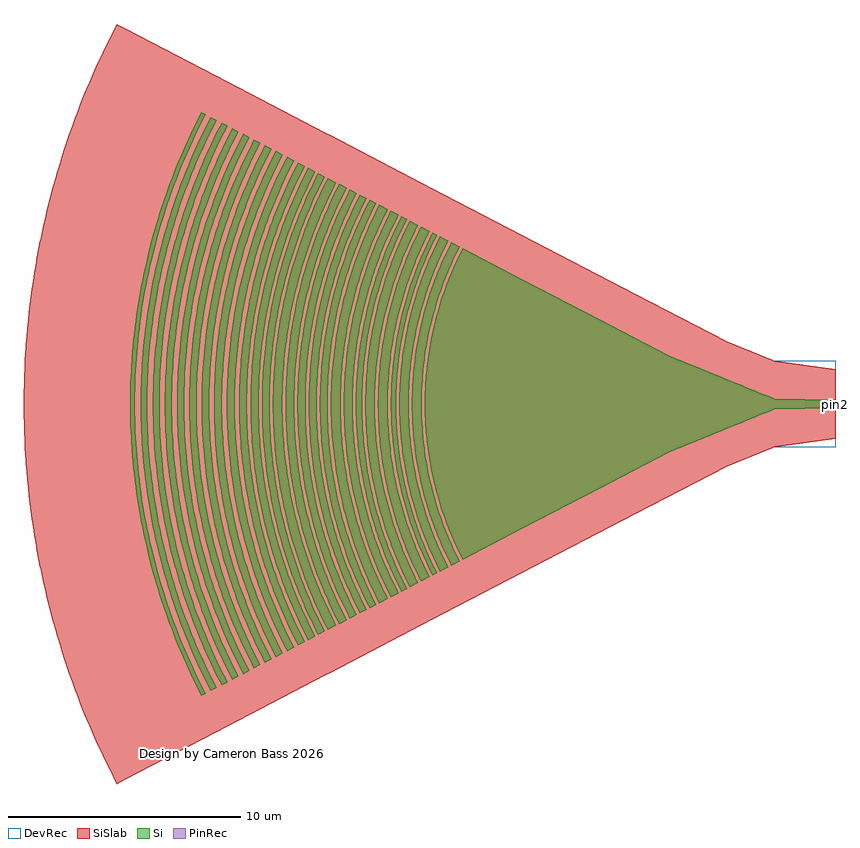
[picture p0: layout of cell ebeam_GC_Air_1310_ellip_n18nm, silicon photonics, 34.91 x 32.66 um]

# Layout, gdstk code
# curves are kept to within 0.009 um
import gdstk
lib = gdstk.Library(unit=1e-6, precision=1e-09)
def P(c, l, *ps):  # polygons
    for p in ps: c.add(gdstk.Polygon(p, *l))
Si = (1, 0)
PinRec = (1, 10)
SiSlab = (2, 0)
DevRec = (68, 0)

ebeam_gc_air_1310_ellip_ = lib.new_cell('ebeam_GC_Air_1310_ellip_n18nm')
P(ebeam_gc_air_1310_ellip_, Si, [(-16.04,-6.692),(-16.451,-5.833),(-16.767,-5.047),(-16.996,-4.378),(-17.261,-3.427),(-17.436,-2.598),(-17.563,-1.761),(-17.641,-0.917),(-17.669,-0.071),(-17.649,0.776),(-17.579,1.621),(-17.46,2.459),(-17.294,3.29),(-17.078,4.109),(-16.767,5.047),(-16.394,5.962),(-16.04,6.692),(-7.159,2.067),(-3.192,0.447),(-2.884,0.334),(-2.698,0.245),(-2.651,0.232),(0,0.175),(0,-0.175),(-2.665,-0.234),(-7.13,-2.053)],
  [(-16.532,-6.947),(-16.897,-6.191),(-17.233,-5.379),(-17.522,-4.547),(-17.762,-3.702),(-17.952,-2.842),(-18.092,-1.974),(-18.191,-0.953),(-18.221,-0.073),(-18.2,0.806),(-18.11,1.829),(-17.979,2.699),(-17.762,3.702),(-17.522,4.547),(-17.233,5.379),(-16.897,6.191),(-16.532,6.948),(-16.161,6.754),(-16.398,6.277),(-16.632,5.757),(-16.895,5.094),(-17.167,4.284),(-17.426,3.321),(-17.595,2.482),(-17.698,1.777),(-17.785,0.784),(-17.805,0.071),(-17.785,-0.784),(-17.698,-1.777),(-17.57,-2.622),(-17.393,-3.459),(-17.167,-4.284),(-16.895,-5.094),(-16.575,-5.887),(-16.161,-6.754)],
  [(-17.013,-7.198),(-17.391,-6.416),(-17.739,-5.573),(-18.038,-4.713),(-18.287,-3.835),(-18.483,-2.946),(-18.628,-2.046),(-18.721,-1.139),(-18.748,-0.683),(-18.762,-0.076),(-18.74,0.835),(-18.696,1.441),(-18.647,1.895),(-18.511,2.796),(-18.287,3.835),(-18.038,4.713),(-17.739,5.573),(-17.391,6.416),(-17.013,7.198),(-16.652,7.01),(-17.081,6.112),(-17.412,5.289),(-17.695,4.447),(-17.929,3.591),(-18.113,2.723),(-18.246,1.845),(-18.327,0.961),(-18.357,0.074),(-18.336,-0.813),(-18.263,-1.698),(-18.139,-2.577),(-17.964,-3.447),(-17.695,-4.447),(-17.412,-5.289),(-17.081,-6.112),(-16.652,-7.01)],
  [(-17.333,-7.365),(-17.72,-6.564),(-18.076,-5.703),(-18.382,-4.822),(-18.637,-3.924),(-18.838,-3.014),(-18.919,-2.554),(-19.006,-1.939),(-19.092,-1.01),(-19.123,-0.078),(-19.101,0.855),(-19.006,1.939),(-18.943,2.401),(-18.838,3.014),(-18.637,3.924),(-18.382,4.822),(-18.076,5.703),(-17.72,6.565),(-17.333,7.365),(-17.134,7.26),(-17.577,6.331),(-17.811,5.766),(-17.972,5.335),(-18.121,4.9),(-18.299,4.313),(-18.525,3.422),(-18.697,2.519),(-18.817,1.607),(-18.876,0.843),(-18.898,0.077),(-18.876,-0.843),(-18.817,-1.607),(-18.721,-2.367),(-18.557,-3.272),(-18.299,-4.313),(-18.121,-4.9),(-17.972,-5.334),(-17.811,-5.765),(-17.577,-6.331),(-17.134,-7.26)],
  [(-17.829,-7.623),(-18.294,-6.647),(-18.654,-5.752),(-18.962,-4.837),(-19.216,-3.906),(-19.415,-2.961),(-19.559,-2.007),(-19.648,-1.045),(-19.681,-0.08),(-19.657,0.885),(-19.578,1.847),(-19.443,2.803),(-19.216,3.906),(-18.962,4.837),(-18.654,5.752),(-18.229,6.794),(-17.829,7.623),(-17.454,7.427),(-17.907,6.477),(-18.203,5.751),(-18.512,4.862),(-18.768,3.958),(-18.877,3.5),(-19.001,2.885),(-19.141,1.955),(-19.205,1.331),(-19.237,0.862),(-19.259,0.078),(-19.237,-0.862),(-19.205,-1.331),(-19.141,-1.955),(-19.001,-2.885),(-18.806,-3.805),(-18.558,-4.713),(-18.258,-5.604),(-17.907,-6.477),(-17.454,-7.427)],
  [(-18.309,-7.873),(-18.584,-7.318),(-18.79,-6.864),(-19.161,-5.94),(-19.48,-4.995),(-19.742,-4.033),(-19.947,-3.058),(-20.097,-2.072),(-20.188,-1.08),(-20.222,-0.083),(-20.198,0.914),(-20.116,1.907),(-20.004,2.73),(-19.781,3.872),(-19.618,4.516),(-19.48,4.995),(-19.161,5.94),(-18.723,7.017),(-18.309,7.873),(-17.951,7.686),(-18.354,6.85),(-18.547,6.404),(-18.783,5.799),(-19.093,4.877),(-19.349,3.938),(-19.551,2.985),(-19.696,2.023),(-19.786,1.054),(-19.819,0.081),(-19.795,-0.892),(-19.715,-1.862),(-19.579,-2.826),(-19.387,-3.78),(-19.14,-4.721),(-18.839,-5.647),(-18.668,-6.103),(-18.42,-6.702),(-17.951,-7.686)],
  [(-18.671,-8.061),(-18.953,-7.491),(-19.164,-7.027),(-19.544,-6.081),(-19.87,-5.114),(-20.139,-4.129),(-20.349,-3.131),(-20.502,-2.121),(-20.596,-1.105),(-20.63,-0.085),(-20.606,0.935),(-20.522,1.953),(-20.379,2.963),(-20.251,3.631),(-20.139,4.129),(-19.87,5.114),(-19.544,6.081),(-19.164,7.028),(-18.953,7.492),(-18.671,8.061),(-18.43,7.936),(-18.707,7.377),(-18.982,6.765),(-19.347,5.83),(-19.51,5.355),(-19.704,4.714),(-19.834,4.228),(-19.986,3.576),(-20.165,2.587),(-20.27,1.756),(-20.335,0.921),(-20.359,0.084),(-20.335,-0.921),(-20.27,-1.756),(-20.165,-2.587),(-20.02,-3.412),(-19.914,-3.902),(-19.749,-4.552),(-19.561,-5.194),(-19.403,-5.672),(-19.171,-6.3),(-18.982,-6.765),(-18.707,-7.377),(-18.43,-7.935)],
  [(-19.129,-8.3),(-19.566,-7.396),(-19.84,-6.75),(-20.029,-6.261),(-20.364,-5.265),(-20.641,-4.251),(-20.857,-3.223),(-21.015,-2.184),(-21.111,-1.138),(-21.147,-0.088),(-21.137,0.613),(-21.111,1.138),(-21.015,2.184),(-20.857,3.223),(-20.64,4.251),(-20.364,5.265),(-20.029,6.261),(-19.84,6.751),(-19.566,7.396),(-19.129,8.3),(-18.793,8.124),(-19.22,7.239),(-19.489,6.608),(-19.673,6.128),(-20.001,5.153),(-20.272,4.161),(-20.485,3.155),(-20.639,2.138),(-20.733,1.114),(-20.768,0.086),(-20.743,-0.943),(-20.659,-1.968),(-20.515,-2.986),(-20.421,-3.492),(-20.272,-4.161),(-20.001,-5.153),(-19.673,-6.128),(-19.29,-7.082),(-19.077,-7.551),(-18.793,-8.124)],
  [(-19.628,-8.56),(-20.077,-7.629),(-20.491,-6.627),(-20.846,-5.604),(-21.142,-4.561),(-21.375,-3.503),(-21.548,-2.433),(-21.658,-1.354),(-21.689,-0.813),(-21.707,-0.09),(-21.681,0.993),(-21.644,1.534),(-21.57,2.253),(-21.497,2.79),(-21.375,3.503),(-21.142,4.561),(-20.846,5.604),(-20.491,6.627),(-20.077,7.629),(-19.628,8.56),(-19.251,8.363),(-19.543,7.773),(-19.762,7.29),(-20.096,6.473),(-20.276,5.976),(-20.495,5.305),(-20.774,4.283),(-20.993,3.247),(-21.151,2.201),(-21.248,1.146),(-21.284,0.088),(-21.279,-0.441),(-21.248,-1.146),(-21.151,-2.2),(-20.993,-3.247),(-20.774,-4.283),(-20.495,-5.304),(-20.333,-5.809),(-20.096,-6.473),(-19.762,-7.29),(-19.543,-7.772),(-19.251,-8.363)],
  [(-20.043,-8.776),(-20.35,-8.155),(-20.58,-7.649),(-20.994,-6.619),(-21.348,-5.566),(-21.641,-4.495),(-21.87,-3.408),(-22.036,-2.309),(-22.138,-1.203),(-22.176,-0.093),(-22.149,1.018),(-22.095,1.757),(-22.036,2.309),(-21.87,3.408),(-21.724,4.134),(-21.597,4.674),(-21.294,5.742),(-20.929,6.792),(-20.505,7.819),(-20.043,8.776),(-19.753,8.624),(-20.053,8.016),(-20.352,7.352),(-20.749,6.335),(-20.981,5.645),(-21.137,5.122),(-21.278,4.594),(-21.443,3.886),(-21.609,2.991),(-21.732,2.089),(-21.822,1.001),(-21.848,0.091),(-21.838,-0.637),(-21.769,-1.727),(-21.664,-2.631),(-21.48,-3.707),(-21.364,-4.24),(-21.186,-4.947),(-20.981,-5.644),(-20.749,-6.335),(-20.352,-7.351),(-20.053,-8.016),(-19.753,-8.624)],
  [(-20.463,-8.995),(-20.938,-8.012),(-21.373,-6.959),(-21.746,-5.885),(-22.057,-4.789),(-22.227,-4.05),(-22.337,-3.492),(-22.507,-2.366),(-22.612,-1.233),(-22.651,-0.095),(-22.64,0.664),(-22.612,1.233),(-22.507,2.366),(-22.337,3.492),(-22.187,4.236),(-22.057,4.789),(-21.746,5.885),(-21.373,6.959),(-20.938,8.012),(-20.463,8.995),(-20.165,8.839),(-20.474,8.214),(-20.78,7.533),(-20.991,7.015),(-21.249,6.315),(-21.424,5.784),(-21.634,5.069),(-21.818,4.345),(-21.936,3.799),(-22.097,2.88),(-22.214,1.955),(-22.286,1.025),(-22.313,0.093),(-22.295,-0.839),(-22.232,-1.77),(-22.124,-2.696),(-21.936,-3.799),(-21.818,-4.345),(-21.634,-5.069),(-21.479,-5.606),(-21.249,-6.315),(-20.991,-7.015),(-20.78,-7.533),(-20.474,-8.214),(-20.165,-8.839)],
  [(-20.898,-9.221),(-21.386,-8.21),(-21.831,-7.133),(-22.214,-6.031),(-22.533,-4.908),(-22.666,-4.34),(-22.82,-3.578),(-22.995,-2.425),(-23.102,-1.263),(-23.141,-0.097),(-23.136,0.486),(-23.102,1.263),(-22.995,2.425),(-22.82,3.579),(-22.666,4.341),(-22.533,4.908),(-22.272,5.845),(-21.9,6.951),(-21.465,8.033),(-21.223,8.563),(-20.898,9.221),(-20.589,9.059),(-20.908,8.415),(-21.221,7.717),(-21.437,7.187),(-21.702,6.47),(-21.882,5.925),(-22.097,5.193),(-22.285,4.451),(-22.406,3.892),(-22.571,2.951),(-22.691,2.003),(-22.765,1.051),(-22.793,0.096),(-22.774,-0.86),(-22.71,-1.813),(-22.599,-2.762),(-22.406,-3.892),(-22.285,-4.451),(-22.097,-5.193),(-21.882,-5.925),(-21.702,-6.47),(-21.437,-7.187),(-21.221,-7.717),(-20.908,-8.415),(-20.589,-9.059)],
  [(-21.349,-9.456),(-21.683,-8.782),(-21.93,-8.237),(-22.376,-7.128),(-22.758,-5.994),(-23.073,-4.84),(-23.32,-3.67),(-23.499,-2.487),(-23.609,-1.295),(-23.649,-0.1),(-23.644,0.498),(-23.609,1.296),(-23.499,2.487),(-23.32,3.67),(-23.072,4.84),(-22.924,5.419),(-22.758,5.994),(-22.376,7.128),(-21.93,8.238),(-21.683,8.782),(-21.349,9.456),(-21.019,9.283),(-21.262,8.799),(-21.59,8.087),(-21.817,7.546),(-22.095,6.814),(-22.285,6.259),(-22.513,5.509),(-22.711,4.751),(-22.882,3.988),(-23.051,3.024),(-23.174,2.052),(-23.25,1.076),(-23.278,0.098),(-23.259,-0.881),(-23.193,-1.858),(-23.08,-2.83),(-22.882,-3.987),(-22.712,-4.751),(-22.513,-5.509),(-22.345,-6.071),(-22.095,-6.814),(-21.817,-7.546),(-21.59,-8.087),(-21.262,-8.798),(-21.019,-9.283)],
  [(-21.837,-9.709),(-22.09,-9.204),(-22.432,-8.46),(-22.89,-7.32),(-23.095,-6.741),(-23.282,-6.156),(-23.453,-5.565),(-23.606,-4.971),(-23.859,-3.769),(-24.043,-2.554),(-24.156,-1.33),(-24.186,-0.716),(-24.197,-0.102),(-24.168,1.126),(-24.067,2.351),(-23.96,3.162),(-23.859,3.769),(-23.741,4.371),(-23.605,4.971),(-23.453,5.566),(-23.282,6.156),(-23.095,6.741),(-22.89,7.321),(-22.592,8.083),(-22.349,8.648),(-21.837,9.71),(-21.47,9.518),(-21.806,8.841),(-22.054,8.292),(-22.288,7.737),(-22.505,7.175),(-22.705,6.608),(-22.888,6.034),(-23.205,4.872),(-23.339,4.285),(-23.455,3.694),(-23.635,2.503),(-23.699,1.905),(-23.745,1.304),(-23.786,0.1),(-23.767,-0.903),(-23.699,-1.905),(-23.553,-3.1),(-23.379,-4.088),(-23.206,-4.872),(-23.055,-5.455),(-22.829,-6.225),(-22.64,-6.797),(-22.362,-7.551),(-22.135,-8.108),(-21.806,-8.841),(-21.47,-9.518)],
  [(-22.251,-9.925),(-22.51,-9.407),(-22.86,-8.647),(-23.328,-7.482),(-23.729,-6.292),(-24.06,-5.081),(-24.318,-3.852),(-24.421,-3.232),(-24.506,-2.61),(-24.622,-1.36),(-24.664,-0.105),(-24.658,0.524),(-24.634,1.151),(-24.531,2.402),(-24.452,3.025),(-24.355,3.646),(-24.24,4.263),(-24.06,5.081),(-23.729,6.292),(-23.537,6.89),(-23.328,7.482),(-23.023,8.262),(-22.775,8.839),(-22.251,9.925),(-21.958,9.772),(-22.301,9.078),(-22.639,8.326),(-23.089,7.174),(-23.289,6.59),(-23.528,5.801),(-23.688,5.203),(-23.875,4.4),(-23.994,3.793),(-24.095,3.183),(-24.224,2.161),(-24.304,1.133),(-24.334,0.103),(-24.304,-1.133),(-24.224,-2.161),(-24.095,-3.183),(-23.994,-3.793),(-23.875,-4.4),(-23.738,-5.003),(-23.528,-5.8),(-23.289,-6.589),(-23.089,-7.174),(-22.796,-7.945),(-22.557,-8.514),(-22.301,-9.078),(-21.958,-9.772)],
  [(-22.685,-10.151),(-22.952,-9.619),(-23.223,-9.037),(-23.477,-8.447),(-23.714,-7.851),(-24.135,-6.638),(-24.377,-5.816),(-24.537,-5.195),(-24.678,-4.568),(-24.801,-3.939),(-24.907,-3.305),(-24.994,-2.669),(-25.062,-2.03),(-25.112,-1.39),(-25.143,-0.749),(-25.155,-0.107),(-25.149,0.536),(-25.124,1.177),(-25.081,1.817),(-25.019,2.456),(-24.938,3.094),(-24.839,3.728),(-24.678,4.568),(-24.537,5.195),(-24.377,5.816),(-24.198,6.434),(-23.789,7.651),(-23.31,8.842),(-22.952,9.619),(-22.685,10.151),(-22.375,9.989),(-22.727,9.278),(-22.988,8.702),(-23.311,7.924),(-23.532,7.332),(-23.801,6.533),(-23.981,5.928),(-24.145,5.317),(-24.336,4.497),(-24.528,3.462),(-24.671,2.418),(-24.762,1.368),(-24.793,0.738),(-24.805,0.105),(-24.785,-0.948),(-24.693,-2.208),(-24.561,-3.253),(-24.336,-4.497),(-24.196,-5.113),(-23.981,-5.928),(-23.801,-6.533),(-23.532,-7.332),(-23.311,-7.924),(-22.988,-8.702),(-22.727,-9.278),(-22.375,-9.989)],
  [(-23.117,-10.376),(-23.488,-9.629),(-23.759,-9.032),(-24.249,-7.815),(-24.467,-7.196),(-24.667,-6.572),(-24.849,-5.942),(-25.013,-5.307),(-25.284,-4.024),(-25.48,-2.727),(-25.55,-2.074),(-25.601,-1.42),(-25.633,-0.765),(-25.645,-0.109),(-25.639,0.547),(-25.614,1.202),(-25.569,1.857),(-25.506,2.509),(-25.423,3.161),(-25.284,4.024),(-25.157,4.667),(-25.012,5.307),(-24.849,5.942),(-24.667,6.572),(-24.467,7.197),(-24.249,7.816),(-23.759,9.032),(-23.488,9.629),(-23.117,10.376),(-22.823,10.223),(-23.185,9.49),(-23.539,8.704),(-23.783,8.106),(-24.009,7.5),(-24.284,6.683),(-24.469,6.064),(-24.636,5.44),(-24.832,4.6),(-25.029,3.541),(-25.122,2.901),(-25.197,2.259),(-25.28,1.185),(-25.312,0.108),(-25.291,-0.97),(-25.197,-2.259),(-25.029,-3.541),(-24.832,-4.6),(-24.688,-5.23),(-24.469,-6.064),(-24.284,-6.683),(-24.009,-7.5),(-23.783,-8.106),(-23.453,-8.901),(-23.185,-9.49),(-22.823,-10.222)],
  [(-23.586,-10.621),(-24.156,-9.444),(-24.421,-8.827),(-24.669,-8.203),(-24.899,-7.573),(-25.11,-6.937),(-25.303,-6.293),(-25.477,-5.646),(-25.631,-4.992),(-25.807,-4.116),(-25.918,-3.453),(-26.009,-2.789),(-26.08,-2.121),(-26.132,-1.453),(-26.165,-0.782),(-26.178,-0.112),(-26.171,0.56),(-26.145,1.23),(-26.1,1.899),(-26.009,2.789),(-25.918,3.454),(-25.807,4.116),(-25.631,4.993),(-25.477,5.646),(-25.303,6.294),(-25.11,6.937),(-24.899,7.573),(-24.669,8.204),(-24.421,8.827),(-24.156,9.444),(-23.872,10.052),(-23.586,10.621),(-23.281,10.461),(-23.655,9.706),(-24.017,8.902),(-24.266,8.29),(-24.498,7.671),(-24.712,7.046),(-24.969,6.202),(-25.14,5.564),(-25.34,4.705),(-25.542,3.621),(-25.691,2.529),(-25.754,1.872),(-25.799,1.212),(-25.831,0.11),(-25.81,-0.992),(-25.772,-1.651),(-25.714,-2.31),(-25.576,-3.404),(-25.34,-4.705),(-25.194,-5.349),(-24.969,-6.202),(-24.712,-7.044),(-24.498,-7.67),(-24.185,-8.495),(-23.929,-9.104),(-23.56,-9.905),(-23.281,-10.461)],
  [(-24.069,-10.872),(-24.464,-10.076),(-24.748,-9.452),(-25.261,-8.179),(-25.49,-7.531),(-25.7,-6.878),(-25.891,-6.218),(-26.062,-5.554),(-26.213,-4.884),(-26.346,-4.211),(-26.459,-3.533),(-26.552,-2.853),(-26.625,-2.17),(-26.678,-1.486),(-26.712,-0.8),(-26.725,-0.114),(-26.718,0.573),(-26.692,1.258),(-26.645,1.943),(-26.552,2.854),(-26.459,3.533),(-26.346,4.211),(-26.213,4.884),(-26.061,5.554),(-25.891,6.218),(-25.7,6.878),(-25.49,7.531),(-25.261,8.179),(-24.927,9.031),(-24.655,9.661),(-24.365,10.283),(-24.069,10.872),(-23.769,10.715),(-24.058,10.139),(-24.344,9.525),(-24.613,8.904),(-24.942,8.064),(-25.238,7.212),(-25.439,6.565),(-25.62,5.914),(-25.834,5.036),(-25.97,4.373),(-26.088,3.707),(-26.241,2.589),(-26.339,1.465),(-26.372,0.79),(-26.385,0.113),(-26.363,-1.015),(-26.265,-2.365),(-26.123,-3.484),(-26.012,-4.151),(-25.881,-4.816),(-25.731,-5.475),(-25.501,-6.348),(-25.238,-7.212),(-25.019,-7.852),(-24.782,-8.486),(-24.436,-9.319),(-24.058,-10.139),(-23.769,-10.715)],
  [(-24.539,-11.117),(-24.844,-10.511),(-25.141,-9.875),(-25.419,-9.23),(-25.678,-8.579),(-25.919,-7.919),(-26.14,-7.253),(-26.404,-6.356),(-26.58,-5.677),(-26.734,-4.992),(-26.87,-4.304),(-26.985,-3.611),(-27.08,-2.917),(-27.155,-2.218),(-27.21,-1.519),(-27.244,-0.818),(-27.257,-0.117),(-27.244,0.818),(-27.21,1.52),(-27.155,2.219),(-27.08,2.917),(-26.985,3.611),(-26.87,4.304),(-26.734,4.992),(-26.58,5.677),(-26.404,6.356),(-26.14,7.253),(-25.919,7.919),(-25.678,8.579),(-25.419,9.231),(-25.141,9.875),(-24.844,10.511),(-24.539,11.117),(-24.25,10.966),(-24.649,10.163),(-24.936,9.532),(-25.205,8.894),(-25.533,8.031),(-25.828,7.156),(-26.026,6.494),(-26.206,5.824),(-26.415,4.926),(-26.627,3.792),(-26.783,2.648),(-26.884,1.499),(-26.917,0.808),(-26.93,0.115),(-26.924,-0.576),(-26.897,-1.269),(-26.807,-2.419),(-26.727,-3.106),(-26.627,-3.792),(-26.415,-4.926),(-26.262,-5.6),(-26.026,-6.493),(-25.828,-7.156),(-25.533,-8.031),(-25.205,-8.894),(-24.936,-9.532),(-24.649,-10.163),(-24.25,-10.966)],
  [(-25.012,-11.363),(-25.325,-10.741),(-25.629,-10.091),(-25.912,-9.433),(-26.178,-8.766),(-26.423,-8.093),(-26.649,-7.413),(-26.856,-6.725),(-27.042,-6.032),(-27.206,-5.335),(-27.352,-4.632),(-27.476,-3.927),(-27.581,-3.218),(-27.664,-2.505),(-27.727,-1.791),(-27.778,-0.836),(-27.792,-0.12),(-27.785,0.597),(-27.757,1.314),(-27.708,2.03),(-27.611,2.981),(-27.513,3.691),(-27.396,4.398),(-27.257,5.102),(-27.042,6.033),(-26.856,6.726),(-26.649,7.413),(-26.423,8.093),(-26.178,8.766),(-25.912,9.433),(-25.629,10.091),(-25.325,10.741),(-25.012,11.363),(-24.73,11.216),(-25.14,10.391),(-25.433,9.746),(-25.708,9.094),(-26.044,8.212),(-26.273,7.543),(-26.483,6.866),(-26.673,6.185),(-26.896,5.267),(-27.124,4.11),(-27.233,3.411),(-27.322,2.708),(-27.391,2.003),(-27.439,1.297),(-27.473,0.118),(-27.466,-0.589),(-27.439,-1.297),(-27.347,-2.473),(-27.199,-3.644),(-27.083,-4.342),(-26.946,-5.037),(-26.789,-5.726),(-26.548,-6.639),(-26.273,-7.543),(-26.044,-8.212),(-25.708,-9.094),(-25.433,-9.746),(-25.14,-10.391),(-24.73,-11.215)],
  [(-25.474,-11.603),(-25.794,-10.967),(-26.104,-10.304),(-26.393,-9.631),(-26.664,-8.951),(-26.915,-8.263),(-27.146,-7.569),(-27.357,-6.867),(-27.547,-6.16),(-27.767,-5.209),(-27.908,-4.491),(-28.029,-3.768),(-28.128,-3.043),(-28.206,-2.315),(-28.263,-1.585),(-28.298,-0.854),(-28.313,-0.122),(-28.298,0.854),(-28.263,1.585),(-28.206,2.315),(-28.128,3.043),(-28.029,3.768),(-27.908,4.491),(-27.767,5.209),(-27.547,6.16),(-27.357,6.867),(-27.146,7.569),(-26.915,8.263),(-26.664,8.951),(-26.393,9.631),(-26.104,10.304),(-25.794,10.967),(-25.474,11.603),(-25.204,11.462),(-25.624,10.618),(-26.02,9.738),(-26.294,9.069),(-26.548,8.391),(-26.856,7.477),(-27.063,6.785),(-27.251,6.085),(-27.419,5.382),(-27.565,4.673),(-27.691,3.962),(-27.854,2.767),(-27.924,2.048),(-27.973,1.326),(-28.008,0.121),(-27.985,-1.085),(-27.943,-1.806),(-27.88,-2.527),(-27.796,-3.245),(-27.691,-3.961),(-27.565,-4.673),(-27.419,-5.382),(-27.191,-6.319),(-26.996,-7.016),(-26.782,-7.707),(-26.548,-8.391),(-26.294,-9.069),(-25.924,-9.959),(-25.624,-10.618),(-25.204,-11.462)],
  [(-25.939,-11.845),(-26.266,-11.195),(-26.583,-10.518),(-26.878,-9.832),(-27.155,-9.137),(-27.411,-8.435),(-27.647,-7.726),(-27.862,-7.01),(-28.056,-6.287),(-28.28,-5.317),(-28.425,-4.584),(-28.547,-3.846),(-28.649,-3.106),(-28.729,-2.363),(-28.787,-1.618),(-28.823,-0.871),(-28.837,-0.125),(-28.823,0.871),(-28.787,1.618),(-28.729,2.363),(-28.649,3.107),(-28.547,3.847),(-28.425,4.584),(-28.28,5.317),(-28.056,6.287),(-27.862,7.01),(-27.647,7.726),(-27.411,8.435),(-27.155,9.137),(-26.878,9.832),(-26.583,10.518),(-26.266,11.195),(-25.939,11.846),(-25.674,11.707),(-25.997,11.066),(-26.409,10.171),(-26.696,9.49),(-26.963,8.801),(-27.209,8.105),(-27.505,7.165),(-27.765,6.215),(-27.936,5.496),(-28.174,4.288),(-28.288,3.559),(-28.381,2.826),(-28.453,2.091),(-28.503,1.354),(-28.539,0.123),(-28.531,-0.615),(-28.503,-1.354),(-28.407,-2.581),(-28.252,-3.802),(-28.131,-4.53),(-27.989,-5.256),(-27.825,-5.976),(-27.574,-6.928),(-27.286,-7.871),(-27.047,-8.569),(-26.696,-9.49),(-26.41,-10.17),(-25.997,-11.065),(-25.674,-11.707)],
  [(-26.398,-12.084),(-26.732,-11.42),(-27.055,-10.729),(-27.356,-10.029),(-27.638,-9.321),(-27.9,-8.604),(-28.14,-7.88),(-28.359,-7.15),(-28.557,-6.415),(-28.786,-5.424),(-28.934,-4.676),(-29.059,-3.924),(-29.162,-3.169),(-29.244,-2.41),(-29.303,-1.651),(-29.34,-0.889),(-29.355,-0.127),(-29.347,0.636),(-29.318,1.397),(-29.266,2.158),(-29.192,2.917),(-29.096,3.672),(-28.934,4.676),(-28.786,5.424),(-28.617,6.168),(-28.428,6.906),(-28.216,7.639),(-27.982,8.364),(-27.728,9.083),(-27.453,9.794),(-27.055,10.729),(-26.732,11.42),(-26.398,12.084),(-26.143,11.951),(-26.582,11.069),(-26.995,10.152),(-27.28,9.454),(-27.545,8.748),(-27.789,8.035),(-28.083,7.073),(-28.278,6.344),(-28.453,5.611),(-28.606,4.872),(-28.737,4.13),(-28.907,2.885),(-29.017,1.633),(-29.053,0.88),(-29.068,0.126),(-29.06,-0.628),(-29.031,-1.382),(-28.934,-2.635),(-28.846,-3.383),(-28.737,-4.13),(-28.606,-4.872),(-28.453,-5.611),(-28.215,-6.588),(-28.013,-7.314),(-27.789,-8.034),(-27.545,-8.747),(-27.28,-9.454),(-26.895,-10.382),(-26.582,-11.069),(-26.143,-11.951)],
  [(-26.868,-12.329),(-27.314,-11.431),(-27.636,-10.723),(-27.937,-10.004),(-28.218,-9.278),(-28.477,-8.544),(-28.715,-7.803),(-28.931,-7.054),(-29.126,-6.3),(-29.297,-5.54),(-29.447,-4.777),(-29.575,-4.008),(-29.681,-3.237),(-29.763,-2.462),(-29.824,-1.686),(-29.862,-0.908),(-29.877,-0.13),(-29.862,0.908),(-29.824,1.686),(-29.763,2.462),(-29.681,3.237),(-29.575,4.008),(-29.447,4.777),(-29.297,5.541),(-29.126,6.3),(-28.931,7.054),(-28.715,7.803),(-28.477,8.544),(-28.218,9.279),(-27.937,10.004),(-27.636,10.723),(-27.314,11.431),(-26.868,12.33),(-26.61,12.195),(-27.058,11.294),(-27.377,10.593),(-27.771,9.646),(-28.041,8.925),(-28.29,8.198),(-28.518,7.462),(-28.725,6.722),(-28.967,5.725),(-29.215,4.466),(-29.334,3.706),(-29.431,2.943),(-29.505,2.178),(-29.557,1.41),(-29.595,0.128),(-29.57,-1.154),(-29.525,-1.921),(-29.458,-2.688),(-29.297,-3.96),(-29.17,-4.719),(-29.022,-5.474),(-28.851,-6.224),(-28.589,-7.216),(-28.369,-7.953),(-28.041,-8.925),(-27.771,-9.646),(-27.377,-10.593),(-27.058,-11.294),(-26.61,-12.194)],
  [(-27.266,-12.537),(-27.727,-11.608),(-28.055,-10.888),(-28.36,-10.159),(-28.645,-9.422),(-28.909,-8.675),(-29.15,-7.923),(-29.37,-7.163),(-29.567,-6.398),(-29.741,-5.626),(-29.894,-4.85),(-30.024,-4.07),(-30.131,-3.287),(-30.215,-2.5),(-30.271,-1.793),(-30.315,-0.922),(-30.33,-0.132),(-30.322,0.659),(-30.292,1.449),(-30.238,2.238),(-30.131,3.287),(-30.024,4.07),(-29.894,4.851),(-29.741,5.626),(-29.566,6.398),(-29.37,7.163),(-29.15,7.923),(-28.909,8.676),(-28.645,9.422),(-28.36,10.159),(-27.948,11.13),(-27.613,11.846),(-27.266,12.537),(-27.089,12.444),(-27.425,11.774),(-27.757,11.062),(-28.168,10.098),(-28.451,9.364),(-28.713,8.624),(-28.953,7.875),(-29.239,6.867),(-29.428,6.104),(-29.693,4.821),(-29.822,4.046),(-29.928,3.267),(-30.012,2.486),(-30.073,1.702),(-30.111,0.917),(-30.126,0.131),(-30.101,-1.179),(-30.055,-1.963),(-29.986,-2.746),(-29.895,-3.526),(-29.781,-4.305),(-29.645,-5.078),(-29.486,-5.848),(-29.304,-6.613),(-29.101,-7.372),(-28.795,-8.375),(-28.541,-9.118),(-28.265,-9.855),(-27.864,-10.822),(-27.538,-11.538),(-27.089,-12.444)])
P(ebeam_gc_air_1310_ellip_, SiSlab, [(-30.904,-16.329),(-31.366,-15.41),(-31.801,-14.477),(-32.208,-13.533),(-32.588,-12.577),(-32.94,-11.61),(-33.264,-10.634),(-33.559,-9.648),(-33.825,-8.655),(-34.062,-7.654),(-34.27,-6.647),(-34.449,-5.634),(-34.598,-4.616),(-34.717,-3.594),(-34.807,-2.569),(-34.867,-1.543),(-34.9,-0.171),(-34.89,0.857),(-34.85,1.885),(-34.781,2.912),(-34.681,3.935),(-34.552,4.956),(-34.393,5.972),(-34.135,7.319),(-33.907,8.322),(-33.651,9.318),(-33.365,10.307),(-33.051,11.286),(-32.709,12.256),(-32.338,13.216),(-31.94,14.164),(-31.366,15.41),(-30.904,16.329),(-4.744,2.708),(-2.65,1.855),(0,1.5),(0,-1.5),(-2.65,-1.855),(-4.728,-2.7)])
P(ebeam_gc_air_1310_ellip_, DevRec, [(-30.904,-16.329),(-31.366,-15.41),(-31.801,-14.477),(-32.208,-13.533),(-32.588,-12.577),(-32.94,-11.61),(-33.264,-10.634),(-33.559,-9.648),(-33.825,-8.655),(-34.062,-7.654),(-34.27,-6.647),(-34.449,-5.634),(-34.598,-4.616),(-34.717,-3.594),(-34.807,-2.569),(-34.867,-1.543),(-34.9,-0.171),(-34.89,0.857),(-34.85,1.885),(-34.781,2.912),(-34.681,3.935),(-34.552,4.956),(-34.393,5.972),(-34.135,7.319),(-33.907,8.322),(-33.651,9.318),(-33.365,10.307),(-33.051,11.286),(-32.709,12.256),(-32.338,13.216),(-31.94,14.164),(-31.366,15.41),(-30.904,16.329),(-4.744,2.708),(-2.65,1.855),(0,1.855),(0,-1.855),(-2.65,-1.855),(-4.728,-2.7)])
ebeam_gc_air_1310_ellip_.add(gdstk.FlexPath([(-0.01,0),(0.01,0)], 0.35, ends="flush", simple_path=True, layer=1, datatype=10))  # PinRec
ebeam_gc_air_1310_ellip_.add(gdstk.Label('pin2', (0,0), layer=1, texttype=10))
ebeam_gc_air_1310_ellip_.add(gdstk.Label('Design by Cameron Bass 2026', (-25.94,-15.02), layer=10, texttype=0))

lib.write_gds('ebeam_GC_Air_1310_ellip_n18nm.gds')
